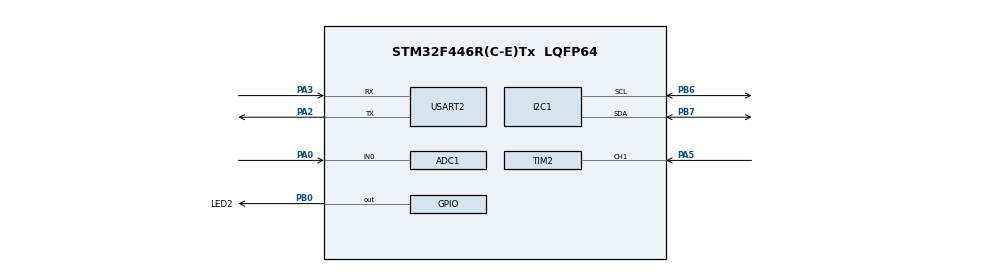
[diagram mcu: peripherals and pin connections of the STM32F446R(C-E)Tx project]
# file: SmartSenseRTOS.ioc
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ADC1.Channel-0\#ChannelRegularConversion=ADC_CHANNEL_0
ADC1.NbrOfConversionFlag=1
ADC1.Rank-0\#ChannelRegularConversion=1
ADC1.SamplingTime-0\#ChannelRegularConversion=ADC_SAMPLETIME_3CYCLES
ADC1.master=1
FREERTOS.Tasks01=defaultTask,24,128,StartDefaultTask,Default,NULL,Dynamic,NULL,NULL
Mcu.Family=STM32F4
Mcu.Name=STM32F446R(C-E)Tx
Mcu.Package=LQFP64
NVIC.PriorityGroup=NVIC_PRIORITYGROUP_4
PA0-WKUP.Signal=ADCx_IN0
PA2.Mode=Asynchronous
PA2.Signal=USART2_TX
PA3.Mode=Asynchronous
PA3.Signal=USART2_RX
PA5.Signal=S_TIM2_CH1_ETR
PB0.GPIO_Label=LED2
PB0.Signal=GPIO_Output
PB6.Mode=I2C
PB6.Signal=I2C1_SCL
PB7.Mode=I2C
PB7.Signal=I2C1_SDA
ProjectManager.HeapSize=0x200
ProjectManager.StackSize=0x400
ProjectManager.TargetToolchain=STM32CubeIDE
RCC.CortexFreq_Value=16000000
RCC.USBFreq_Value=96000000
RCC.VCOOutputFreq_Value=192000000
SH.ADCx_IN0.0=ADC1_IN0,IN0
SH.S_TIM2_CH1_ETR.0=TIM2_CH1,Input_Capture1_from_TI1
TIM2.Channel-Input_Capture1_from_TI1=TIM_CHANNEL_1
USART2.VirtualMode=VM_ASYNC
VP_FREERTOS_VS_CMSIS_V2.Mode=CMSIS_V2
VP_TIM2_VS_ClockSourceINT.Mode=Internal
board=custom

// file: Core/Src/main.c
/* USER CODE BEGIN Header */
/**
  ******************************************************************************
  * @file           : main.c
  * @brief          : Main program body
  ******************************************************************************
  * @attention
  *
  * Copyright (c) 2024 STMicroelectronics.
  * All rights reserved.
  *
  * This software is licensed under terms that can be found in the LICENSE file
  * in the root directory of this software component.
  * If no LICENSE file comes with this software, it is provided AS-IS.
  *
  ******************************************************************************
  */
/* USER CODE END Header */
#include "main.h"
#include "cmsis_os.h"

/* USER CODE BEGIN Includes */
#include <stdio.h>
#include <string.h>

/* USER CODE END Includes */

/* USER CODE BEGIN PD */
#define SLAVE_ADDRESS_LCD 0x4E
#define usTIM TIM6
/* USER CODE END PD */

ADC_HandleTypeDef hadc1;

I2C_HandleTypeDef hi2c1;

TIM_HandleTypeDef htim2;

UART_HandleTypeDef huart2;

/* Definitions for defaultTask */
osThreadId_t defaultTaskHandle;
const osThreadAttr_t defaultTask_attributes = {
  .name = "defaultTask",
  .stack_size = 128 * 4,
  .priority = (osPriority_t) osPriorityNormal,
};
/* USER CODE BEGIN PV */

char LCD_BUF_0[16];
char LCD_BUF_1[16];
uint8_t serial[50];
uint16_t ADC_MOTION;
float DISTANCE = 0.0;
uint8_t icFlag = 0;
uint8_t capturedIdx = 0;
uint32_t edge1Time=0, edge2Time=0;
float speedofSound = 0.0343/2;
uint8_t servo_flag = 0;

/* USER CODE END PV */

void SystemClock_Config(void);
static void MX_GPIO_Init(void);
static void MX_I2C1_Init(void);
static void MX_ADC1_Init(void);
static void MX_TIM2_Init(void);
static void MX_USART2_UART_Init(void);
void StartDefaultTask(void *argument);

/* USER CODE BEGIN 0 */

void lcd_send_cmd (char cmd)
{
  char data_u, data_l;
	uint8_t data_t[4];
	data_u = (cmd&0xf0);
	data_l = ((cmd<<4)&0xf0);
	data_t[0] = data_u|0x0C;  //en=1, rs=0
	data_t[1] = data_u|0x08;  //en=0, rs=0
	data_t[2] = data_l|0x0C;  //en=1, rs=0
	data_t[3] = data_l|0x08;  //en=0, rs=0
	HAL_I2C_Master_Transmit (&hi2c1, SLAVE_ADDRESS_LCD,(uint8_t *) data_t, 4, 100);
}

void lcd_send_data (char data)
{
	char data_u, data_l;
	uint8_t data_t[4];
	data_u = (data&0xf0);
	data_l = ((data<<4)&0xf0);
	data_t[0] = data_u|0x0D;  //en=1, rs=1
	data_t[1] = data_u|0x09;  //en=0, rs=1
	data_t[2] = data_l|0x0D;  //en=1, rs=1
	data_t[3] = data_l|0x09;  //en=0, rs=1
	HAL_I2C_Master_Transmit (&hi2c1, SLAVE_ADDRESS_LCD,(uint8_t *) data_t, 4, 100);
}

void lcd_clear(void)
{
	lcd_send_cmd (0x01);
	osDelay(10);
	lcd_send_cmd (0x06);
	osDelay(10);
}
void lcd_put_cur(int row, int col)
{
    switch (row)
    {
        case 0:
            col |= 0x80;
            break;
        case 1:
            col |= 0xC0;
            break;
    }

    lcd_send_cmd (col);
}

void lcd_init (void)
{
	// 4 bit initialisation
	osDelay(50);  // wait for >40ms
	lcd_send_cmd (0x30);
	osDelay(5);  // wait for >4.1ms
	lcd_send_cmd (0x30);
	osDelay(1);  // wait for >100us
	lcd_send_cmd (0x30);
	osDelay(10);
	lcd_send_cmd (0x20);  // 4bit mode
	osDelay(10);

  // dislay initialisation
	lcd_send_cmd (0x28); // Function set --> DL=0 (4 bit mode), N = 1 (2 line display) F = 0 (5x8 characters)
	osDelay(1);
	lcd_send_cmd (0x08); //Display on/off control --> D=0,C=0, B=0  ---> display off
	osDelay(1);
	lcd_send_cmd (0x01);  // clear display
	osDelay(1);
	osDelay(1);
	lcd_send_cmd (0x06); //Entry mode set --> I/D = 1 (increment cursor) & S = 0 (no shift)
	osDelay(1);
	lcd_send_cmd (0x0C); //Display on/off control --> D = 1, C and B = 0. (Cursor and blink, last two bits)
}

void lcd_send_string (char *str)
{
	while (*str) lcd_send_data (*str++);
}

/* USER CODE END 0 */

int main(void)
{

  /* MCU Configuration--------------------------------------------------------*/

  /* Reset of all peripherals, Initializes the Flash interface and the Systick. */
  HAL_Init();

  /* Configure the system clock */
  SystemClock_Config();

  /* Initialize all configured peripherals */
  MX_GPIO_Init();
  MX_I2C1_Init();
  MX_ADC1_Init();
  MX_TIM2_Init();
  MX_USART2_UART_Init();
  /* USER CODE BEGIN 2 */
  sprintf((char*)serial, "MAIN ENTRY: %.2f\r\n", DISTANCE);
	HAL_UART_Transmit(&huart2, (uint8_t *)serial, sizeof(serial), 100);

  /* USER CODE END 2 */

  /* Init scheduler */
  osKernelInitialize();

  /* Create the thread(s) */
  /* creation of defaultTask */
  defaultTaskHandle = osThreadNew(StartDefaultTask, NULL, &defaultTask_attributes);

  /* Start scheduler */
  osKernelStart();

  /* We should never get here as control is now taken by the scheduler */

  /* Infinite loop */
  while (1)
  {

  }
}

void SystemClock_Config(void)
{
  RCC_OscInitTypeDef RCC_OscInitStruct = {0};
  RCC_ClkInitTypeDef RCC_ClkInitStruct = {0};

  /** Configure the main internal regulator output voltage
  */
  __HAL_RCC_PWR_CLK_ENABLE();
  __HAL_PWR_VOLTAGESCALING_CONFIG(PWR_REGULATOR_VOLTAGE_SCALE3);

  /** Initializes the RCC Oscillators according to the specified parameters
  * in the RCC_OscInitTypeDef structure.
  */
  RCC_OscInitStruct.OscillatorType = RCC_OSCILLATORTYPE_HSI;
  RCC_OscInitStruct.HSIState = RCC_HSI_ON;
  RCC_OscInitStruct.HSICalibrationValue = RCC_HSICALIBRATION_DEFAULT;
  RCC_OscInitStruct.PLL.PLLState = RCC_PLL_NONE;
  if (HAL_RCC_OscConfig(&RCC_OscInitStruct) != HAL_OK)
  {
    Error_Handler();
  }

  /** Initializes the CPU, AHB and APB buses clocks
  */
  RCC_ClkInitStruct.ClockType = RCC_CLOCKTYPE_HCLK|RCC_CLOCKTYPE_SYSCLK
                              |RCC_CLOCKTYPE_PCLK1|RCC_CLOCKTYPE_PCLK2;
  RCC_ClkInitStruct.SYSCLKSource = RCC_SYSCLKSOURCE_HSI;
  RCC_ClkInitStruct.AHBCLKDivider = RCC_SYSCLK_DIV1;
  RCC_ClkInitStruct.APB1CLKDivider = RCC_HCLK_DIV1;
  RCC_ClkInitStruct.APB2CLKDivider = RCC_HCLK_DIV1;

  if (HAL_RCC_ClockConfig(&RCC_ClkInitStruct, FLASH_LATENCY_0) != HAL_OK)
  {
    Error_Handler();
  }
}

static void MX_ADC1_Init(void)
{

  ADC_ChannelConfTypeDef sConfig = {0};

  /** Configure the global features of the ADC (Clock, Resolution, Data Alignment and number of conversion)
  */
  hadc1.Instance = ADC1;
  hadc1.Init.ClockPrescaler = ADC_CLOCK_SYNC_PCLK_DIV2;
  hadc1.Init.Resolution = ADC_RESOLUTION_12B;
  hadc1.Init.ScanConvMode = DISABLE;
  hadc1.Init.ContinuousConvMode = DISABLE;
  hadc1.Init.DiscontinuousConvMode = DISABLE;
  hadc1.Init.ExternalTrigConvEdge = ADC_EXTERNALTRIGCONVEDGE_NONE;
  hadc1.Init.ExternalTrigConv = ADC_SOFTWARE_START;
  hadc1.Init.DataAlign = ADC_DATAALIGN_RIGHT;
  hadc1.Init.NbrOfConversion = 1;
  hadc1.Init.DMAContinuousRequests = DISABLE;
  hadc1.Init.EOCSelection = ADC_EOC_SINGLE_CONV;
  if (HAL_ADC_Init(&hadc1) != HAL_OK)
  {
    Error_Handler();
  }

  /** Configure for the selected ADC regular channel its corresponding rank in the sequencer and its sample time.
  */
  sConfig.Channel = ADC_CHANNEL_0;
  sConfig.Rank = 1;
  sConfig.SamplingTime = ADC_SAMPLETIME_3CYCLES;
  if (HAL_ADC_ConfigChannel(&hadc1, &sConfig) != HAL_OK)
  {
    Error_Handler();
  }

}

static void MX_I2C1_Init(void)
{

  hi2c1.Instance = I2C1;
  hi2c1.Init.ClockSpeed = 100000;
  hi2c1.Init.DutyCycle = I2C_DUTYCYCLE_2;
  hi2c1.Init.OwnAddress1 = 0;
  hi2c1.Init.AddressingMode = I2C_ADDRESSINGMODE_7BIT;
  hi2c1.Init.DualAddressMode = I2C_DUALADDRESS_DISABLE;
  hi2c1.Init.OwnAddress2 = 0;
  hi2c1.Init.GeneralCallMode = I2C_GENERALCALL_DISABLE;
  hi2c1.Init.NoStretchMode = I2C_NOSTRETCH_DISABLE;
  if (HAL_I2C_Init(&hi2c1) != HAL_OK)
  {
    Error_Handler();
  }

}

static void MX_TIM2_Init(void)
{

  TIM_ClockConfigTypeDef sClockSourceConfig = {0};
  TIM_MasterConfigTypeDef sMasterConfig = {0};
  TIM_IC_InitTypeDef sConfigIC = {0};

  htim2.Instance = TIM2;
  htim2.Init.Prescaler = 0;
  htim2.Init.CounterMode = TIM_COUNTERMODE_UP;
  htim2.Init.Period = 4294967295;
  htim2.Init.ClockDivision = TIM_CLOCKDIVISION_DIV1;
  htim2.Init.AutoReloadPreload = TIM_AUTORELOAD_PRELOAD_DISABLE;
  if (HAL_TIM_Base_Init(&htim2) != HAL_OK)
  {
    Error_Handler();
  }
  sClockSourceConfig.ClockSource = TIM_CLOCKSOURCE_INTERNAL;
  if (HAL_TIM_ConfigClockSource(&htim2, &sClockSourceConfig) != HAL_OK)
  {
    Error_Handler();
  }
  if (HAL_TIM_IC_Init(&htim2) != HAL_OK)
  {
    Error_Handler();
  }
  sMasterConfig.MasterOutputTrigger = TIM_TRGO_RESET;
  sMasterConfig.MasterSlaveMode = TIM_MASTERSLAVEMODE_DISABLE;
  if (HAL_TIMEx_MasterConfigSynchronization(&htim2, &sMasterConfig) != HAL_OK)
  {
    Error_Handler();
  }
  sConfigIC.ICPolarity = TIM_INPUTCHANNELPOLARITY_RISING;
  sConfigIC.ICSelection = TIM_ICSELECTION_DIRECTTI;
  sConfigIC.ICPrescaler = TIM_ICPSC_DIV1;
  sConfigIC.ICFilter = 0;
  if (HAL_TIM_IC_ConfigChannel(&htim2, &sConfigIC, TIM_CHANNEL_1) != HAL_OK)
  {
    Error_Handler();
  }

}

static void MX_USART2_UART_Init(void)
{

  huart2.Instance = USART2;
  huart2.Init.BaudRate = 115200;
  huart2.Init.WordLength = UART_WORDLENGTH_8B;
  huart2.Init.StopBits = UART_STOPBITS_1;
  huart2.Init.Parity = UART_PARITY_NONE;
  huart2.Init.Mode = UART_MODE_TX_RX;
  huart2.Init.HwFlowCtl = UART_HWCONTROL_NONE;
  huart2.Init.OverSampling = UART_OVERSAMPLING_16;
  if (HAL_UART_Init(&huart2) != HAL_OK)
  {
    Error_Handler();
  }

}

static void MX_GPIO_Init(void)
{
  GPIO_InitTypeDef GPIO_InitStruct = {0};

  /* GPIO Ports Clock Enable */
  __HAL_RCC_GPIOA_CLK_ENABLE();
  __HAL_RCC_GPIOB_CLK_ENABLE();

  /*Configure GPIO pin Output Level */
  HAL_GPIO_WritePin(LED2_GPIO_Port, LED2_Pin, GPIO_PIN_RESET);

  /*Configure GPIO pin : LED2_Pin */
  GPIO_InitStruct.Pin = LED2_Pin;
  GPIO_InitStruct.Mode = GPIO_MODE_OUTPUT_PP;
  GPIO_InitStruct.Pull = GPIO_NOPULL;
  GPIO_InitStruct.Speed = GPIO_SPEED_FREQ_LOW;
  HAL_GPIO_Init(LED2_GPIO_Port, &GPIO_InitStruct);

}

/* USER CODE BEGIN 4 */

void usDelay(uint32_t uSec){
	if(uSec < 2) uSec = 2;
	usTIM->ARR = uSec - 1;
	usTIM->EGR = 1;
	usTIM->SR &= ~1;
	usTIM->CR1 |= 1;
	while((usTIM->SR&0x0001) != 1);
	usTIM->SR &= ~(0x0001);
}

void HAL_ADC_ConvCpltCallback(ADC_HandleTypeDef* h){
	if(h == &hadc1){
		ADC_MOTION = HAL_ADC_GetValue(&hadc1);
	}
}

void HAL_TIM_IC_CaptureCallback(TIM_HandleTypeDef *htim){

	if(capturedIdx == 0){
		edge1Time = HAL_TIM_ReadCapturedValue(htim, TIM_CHANNEL_1);
		capturedIdx = 1;
	}
	else if(capturedIdx == 1){
		edge2Time = HAL_TIM_ReadCapturedValue(htim, TIM_CHANNEL_1);
		capturedIdx = 0;
		icFlag = 1;
	}
    // Calculate Distance
    if(edge2Time > edge1Time) {
      DISTANCE = ((edge2Time - edge1Time) + 0.0f) * speedofSound;
      sprintf(LCD_BUF_1,"DIS: %06.2f cm",DISTANCE);
    }
    else{
    	sprintf(LCD_BUF_1,"DIS: %06.2f cm",0.0f);
    }
}

/* USER CODE END 4 */

void StartDefaultTask(void *argument)
{
  /* USER CODE BEGIN 5 */
  /* Infinite loop */
  for(;;)
  {
	  HAL_GPIO_TogglePin(LED2_GPIO_Port, LED2_Pin);
	  osDelay(500);
  }
  osThreadTerminate(NULL);
  /* USER CODE END 5 */
}

void Error_Handler(void)
{
  __disable_irq();
  while (1)
  {
  }
}
